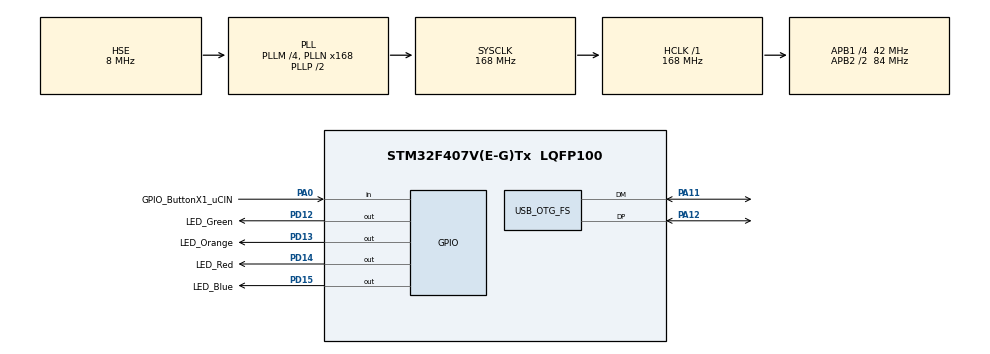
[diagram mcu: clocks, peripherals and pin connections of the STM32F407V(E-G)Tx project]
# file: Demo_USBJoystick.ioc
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Mcu.Family=STM32F4
Mcu.Name=STM32F407V(E-G)Tx
Mcu.Package=LQFP100
NVIC.OTG_FS_IRQn=true\:0\:0\:false\:false\:true\:false\:true\:true
NVIC.PriorityGroup=NVIC_PRIORITYGROUP_4
PA0-WKUP.GPIO_Label=GPIO_ButtonX1_uCIN
PA0-WKUP.GPIO_PuPd=GPIO_NOPULL
PA0-WKUP.Signal=GPIO_Input
PA11.Mode=Device_Only
PA11.Signal=USB_OTG_FS_DM
PA12.Mode=Device_Only
PA12.Signal=USB_OTG_FS_DP
PA13.Mode=Serial_Wire
PA13.Signal=SYS_JTMS-SWDIO
PA14.Mode=Serial_Wire
PA14.Signal=SYS_JTCK-SWCLK
PC14-OSC32_IN.Mode=LSE-External-Oscillator
PC14-OSC32_IN.Signal=RCC_OSC32_IN
PC15-OSC32_OUT.Mode=LSE-External-Oscillator
PC15-OSC32_OUT.Signal=RCC_OSC32_OUT
PD12.GPIO_Label=LED_Green
PD12.Signal=GPIO_Output
PD13.GPIO_Label=LED_Orange
PD13.Signal=GPIO_Output
PD14.GPIO_Label=LED_Red
PD14.Signal=GPIO_Output
PD15.GPIO_Label=LED_Blue
PD15.Signal=GPIO_Output
PH0-OSC_IN.Mode=HSE-External-Oscillator
PH0-OSC_IN.Signal=RCC_OSC_IN
PH1-OSC_OUT.Mode=HSE-External-Oscillator
PH1-OSC_OUT.Signal=RCC_OSC_OUT
ProjectManager.HeapSize=0x200
ProjectManager.StackSize=0x400
ProjectManager.TargetToolchain=STM32CubeIDE
RCC.48MHZClocksFreq_Value=48000000
RCC.AHBFreq_Value=168000000
RCC.APB1CLKDivider=RCC_HCLK_DIV4
RCC.APB1Freq_Value=42000000
RCC.APB1TimFreq_Value=84000000
RCC.APB2CLKDivider=RCC_HCLK_DIV2
RCC.APB2Freq_Value=84000000
RCC.APB2TimFreq_Value=168000000
RCC.CortexFreq_Value=168000000
RCC.HCLKFreq_Value=168000000
RCC.HSE_VALUE=8000000
RCC.HSI_VALUE=16000000
RCC.PLLM=4
RCC.PLLN=168
RCC.PLLQ=7
RCC.SYSCLKFreq_VALUE=168000000
RCC.SYSCLKSource=RCC_SYSCLKSOURCE_PLLCLK
RCC.VCOOutputFreq_Value=336000000
USB_DEVICE.CLASS_NAME_FS=HID
USB_DEVICE.VirtualMode-HID_FS=Hid
USB_DEVICE.VirtualModeFS=Hid_FS
USB_OTG_FS.VirtualMode=Device_Only
VP_USB_DEVICE_VS_USB_DEVICE_HID_FS.Mode=HID_FS
board=custom

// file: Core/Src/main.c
/* USER CODE BEGIN Header */
/**
  ******************************************************************************
  * @file           : main.c
  * @brief          : Main program body
  ******************************************************************************
  * @attention
  *
  * Copyright (c) 2025 STMicroelectronics.
  * All rights reserved.
  *
  * This software is licensed under terms that can be found in the LICENSE file
  * in the root directory of this software component.
  * If no LICENSE file comes with this software, it is provided AS-IS.
  *
  ******************************************************************************
  */
/* USER CODE END Header */
#include "main.h"
#include "usb_device.h"
#include "gpio.h"

/* USER CODE BEGIN Includes */
#include "usbd_hid.h"
/* USER CODE END Includes */

/* USER CODE BEGIN PV */
extern USBD_HandleTypeDef hUsbDeviceFS;
uint8_t Buttons = 0;
uint8_t Joy[3];
/* USER CODE END PV */

void SystemClock_Config(void);
/* USER CODE BEGIN PFP */
void ButtonHandling_Task(void);
void JoystickHandling_Task(void);
/* USER CODE END PFP */

int main(void)
{

  /* MCU Configuration--------------------------------------------------------*/

  /* Reset of all peripherals, Initializes the Flash interface and the Systick. */
  HAL_Init();

  /* Configure the system clock */
  SystemClock_Config();

  /* Initialize all configured peripherals */
  MX_GPIO_Init();
  MX_USB_DEVICE_Init();

  /* Infinite loop */
  /* USER CODE BEGIN WHILE */
  while (1)
  {

	  HAL_GPIO_TogglePin(LED_Green_GPIO_Port, LED_Green_Pin);

	  HAL_Delay(1000);

	  if (USB_OTG_FS->GCCFG & USB_OTG_GCCFG_PWRDWN)
	  {
	      HAL_GPIO_WritePin(LED_Blue_GPIO_Port, LED_Blue_Pin, GPIO_PIN_SET);
	  }
	  else
	  {
	      HAL_GPIO_WritePin(LED_Red_GPIO_Port, LED_Red_Pin, GPIO_PIN_SET);
	  }

	  ButtonHandling_Task();
	  JoystickHandling_Task();

    /* USER CODE END WHILE */

  }
}

void SystemClock_Config(void)
{
  RCC_OscInitTypeDef RCC_OscInitStruct = {0};
  RCC_ClkInitTypeDef RCC_ClkInitStruct = {0};

  /** Configure the main internal regulator output voltage
  */
  __HAL_RCC_PWR_CLK_ENABLE();
  __HAL_PWR_VOLTAGESCALING_CONFIG(PWR_REGULATOR_VOLTAGE_SCALE1);

  /** Initializes the RCC Oscillators according to the specified parameters
  * in the RCC_OscInitTypeDef structure.
  */
  RCC_OscInitStruct.OscillatorType = RCC_OSCILLATORTYPE_HSE;
  RCC_OscInitStruct.HSEState = RCC_HSE_ON;
  RCC_OscInitStruct.PLL.PLLState = RCC_PLL_ON;
  RCC_OscInitStruct.PLL.PLLSource = RCC_PLLSOURCE_HSE;
  RCC_OscInitStruct.PLL.PLLM = 4;
  RCC_OscInitStruct.PLL.PLLN = 168;
  RCC_OscInitStruct.PLL.PLLP = RCC_PLLP_DIV2;
  RCC_OscInitStruct.PLL.PLLQ = 7;
  if (HAL_RCC_OscConfig(&RCC_OscInitStruct) != HAL_OK)
  {
    Error_Handler();
  }

  /** Initializes the CPU, AHB and APB buses clocks
  */
  RCC_ClkInitStruct.ClockType = RCC_CLOCKTYPE_HCLK|RCC_CLOCKTYPE_SYSCLK
                              |RCC_CLOCKTYPE_PCLK1|RCC_CLOCKTYPE_PCLK2;
  RCC_ClkInitStruct.SYSCLKSource = RCC_SYSCLKSOURCE_PLLCLK;
  RCC_ClkInitStruct.AHBCLKDivider = RCC_SYSCLK_DIV1;
  RCC_ClkInitStruct.APB1CLKDivider = RCC_HCLK_DIV4;
  RCC_ClkInitStruct.APB2CLKDivider = RCC_HCLK_DIV2;

  if (HAL_RCC_ClockConfig(&RCC_ClkInitStruct, FLASH_LATENCY_5) != HAL_OK)
  {
    Error_Handler();
  }
}

/* USER CODE BEGIN 4 */
void ButtonHandling_Task(void){
	if(HAL_GPIO_ReadPin(GPIO_ButtonX1_uCIN_GPIO_Port, GPIO_ButtonX1_uCIN_Pin) == GPIO_PIN_SET){
		Buttons |= (1 << 0);
	}
	else{
		Buttons= 0;
	}
}

void JoystickHandling_Task(void){
	 Joy[0] = 128;   // X center
	 Joy[1] = 128;   // Y center
	 Joy[2] = Buttons;  // Button 1 pressed

	 USBD_HID_SendReport(&hUsbDeviceFS, Joy, 3);
}
/* USER CODE END 4 */

void Error_Handler(void)
{
  __disable_irq();
  while (1)
  {
  }
}
